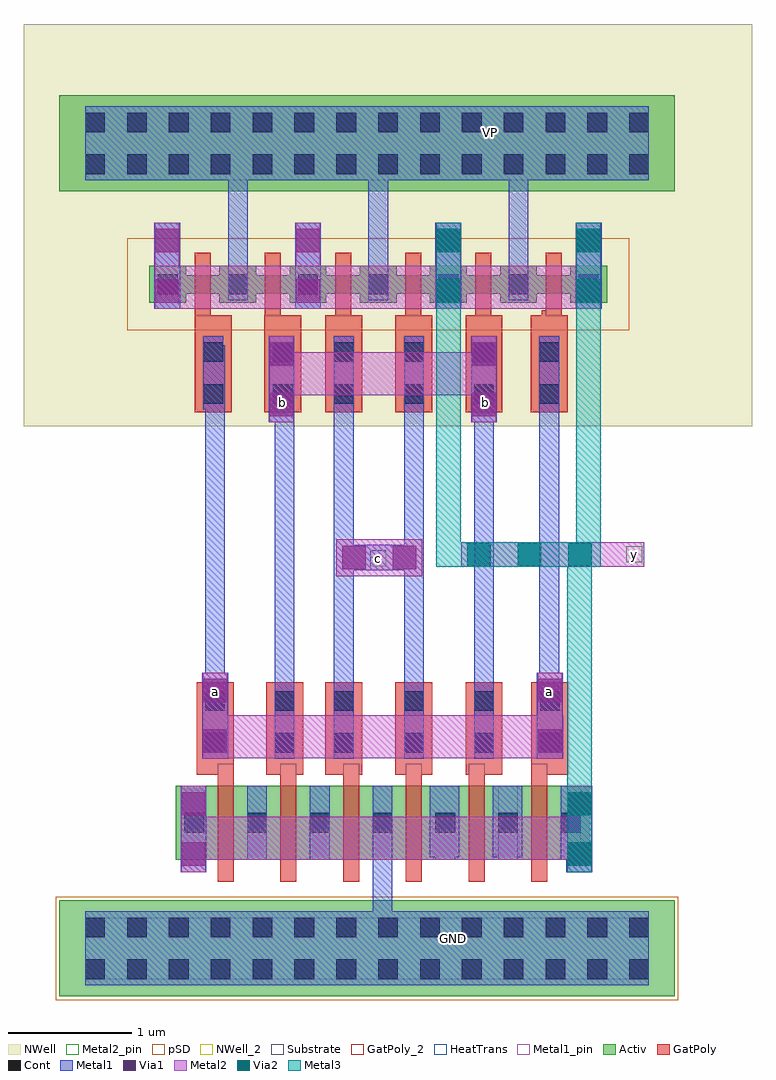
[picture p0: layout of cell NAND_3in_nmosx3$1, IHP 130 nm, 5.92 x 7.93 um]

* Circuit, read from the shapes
.subckt NAND_3in_nmosx3$1 GND VP a b c y
XM1 n1 a y GND sg13_lv_nmos w=0.6u l=0.13u
XM2 n2 b n1 GND sg13_lv_nmos w=0.6u l=0.13u
XM3 GND c n2 GND sg13_lv_nmos w=0.6u l=0.13u
XM4 n3 c GND GND sg13_lv_nmos w=0.6u l=0.13u
XM5 n4 b n3 GND sg13_lv_nmos w=0.6u l=0.13u
XM6 y a n4 GND sg13_lv_nmos w=0.6u l=0.13u
XM7 VP a y VP sg13_lv_pmos w=0.15u l=0.13u m=2
XM8 y b VP VP sg13_lv_pmos w=0.15u l=0.13u m=2
XM9 VP c y VP sg13_lv_pmos w=0.15u l=0.13u m=2
.ends

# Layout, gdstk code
from math import pi, radians
import gdstk
lib = gdstk.Library(unit=1e-6, precision=1e-09)
def R(c, l, rs):  # rectangles x0, y0, x1, y1
    for r in rs: c.add(gdstk.rectangle(r[:2], r[2:], *l))
def A(c, l, x, y, w, h, nx, ny, dx, dy):  # array of equal rectangles
    R(c, l, [(x+i*dx, y+j*dy, x+i*dx+w, y+j*dy+h) for i in range(nx) for j in range(ny)])
Activ = (1, 0)
GatPoly = (5, 0)
GatPoly_2 = (5, 2)
Cont = (6, 0)
Metal1 = (8, 0)
Metal1_pin = (8, 2)
Metal2 = (10, 0)
Metal2_pin = (10, 2)
pSD = (14, 0)
Via1 = (19, 0)
Via2 = (29, 0)
Metal3 = (30, 0)
NWell = (31, 0)
NWell_2 = (31, 2)
Substrate = (40, 0)
HeatTrans = (51, 0)

via_14 = lib.new_cell('Via$14')
R(via_14, Metal1, [(-0.105,-0.35,0.105,0.35)])
R(via_14, Metal2, [(-0.1,-0.35,0.1,0.35)])
R(via_14, Via1, [(-0.095,-0.3,0.095,-0.11), (-0.095,0.11,0.095,0.3)])

via_1 = lib.new_cell('Via$1')
R(via_1, Metal2, [(-0.1,-0.555,0.1,0.555)])
A(via_1, Via2, -0.095, -0.505, 0.19, 0.19, 1, 3, 0, 0.41)
R(via_1, Metal3, [(-0.1,-0.555,0.1,0.555)])

nmos_1 = lib.new_cell('nmos$1')
A(nmos_1, Activ, 0, 0, 0.3, 0.3, 7, 1, 0.51, 0)
R(nmos_1, Activ, [(0,0,3.36,0.6)])
A(nmos_1, GatPoly, 0.34, -0.18, 0.13, 0.96, 6, 1, 0.51, 0)
R(nmos_1, GatPoly_2, [(0.34,-0.18,0.47,0.78)])
A(nmos_1, Cont, 0.07, 0.22, 0.16, 0.16, 7, 1, 0.51, 0)
A(nmos_1, Metal1, 0.07, 0, 0.16, 0.6, 7, 1, 0.51, 0)
R(nmos_1, Metal1_pin, [(0.07,0,0.23,0.6), (0.58,0,0.74,0.6)])
A(nmos_1, HeatTrans, 0.34, -0.18, 0.13, 0.96, 6, 1, 0.51, 0)
nmos_1.add(gdstk.Label('nmos', (0.405,0.3), layer=63, texttype=0))
nmos_1.add(gdstk.Label('nmos', (0.405,0.3), layer=51, texttype=0))
nmos_1.add(gdstk.Label('nmos', (0.915,0.3), layer=51, texttype=0))
nmos_1.add(gdstk.Label('nmos', (1.425,0.3), layer=51, texttype=0))
nmos_1.add(gdstk.Label('nmos', (1.935,0.3), layer=51, texttype=0))
nmos_1.add(gdstk.Label('nmos', (2.445,0.3), layer=51, texttype=0))
nmos_1.add(gdstk.Label('nmos', (2.955,0.3), layer=51, texttype=0))

ntap1_1 = lib.new_cell('ntap1$1')
R(ntap1_1, Activ, [(0,0,5,0.78)])
A(ntap1_1, Cont, 0.21, 0.14, 0.16, 0.16, 14, 2, 0.34, 0.34)
R(ntap1_1, Metal1, [(0.21,0.09,4.79,0.69)])
R(ntap1_1, Metal1_pin, [(0.21,0.09,4.79,0.69), (0.21,0.14,4.79,0.64)])
R(ntap1_1, NWell, [(-0.24,-0.24,5.24,1.02), (0,0,5,0.78)])
R(ntap1_1, NWell_2, [(0,0,5,0.78)])
ntap1_1.add(gdstk.Label('well', (2.5,0.01), layer=63, texttype=0))
ntap1_1.add(gdstk.Label('well', (2.5,0.01), layer=31, texttype=0))

ptap1_5 = lib.new_cell('ptap1$5')
R(ptap1_5, Activ, [(0,0,5,0.78)])
A(ptap1_5, Cont, 0.21, 0.14, 0.16, 0.16, 14, 2, 0.34, 0.34)
R(ptap1_5, Metal1, [(0.21,0.09,4.79,0.69), (0.21,0.14,4.79,0.64)])
R(ptap1_5, Metal1_pin, [(0.21,0.14,4.79,0.64)])
R(ptap1_5, pSD, [(-0.03,-0.03,5.03,0.81)])
R(ptap1_5, Substrate, [(0,0,5,0.78)])
ptap1_5.add(gdstk.Label('sub!', (2.5,0.01), layer=63, texttype=0))
ptap1_5.add(gdstk.Label('sub!', (2.5,0.01), layer=40, texttype=0))

via_2 = lib.new_cell('Via$2')
R(via_2, Metal2, [(-0.1,-0.35,0.1,0.35)])
R(via_2, Via2, [(-0.095,-0.3,0.095,-0.11), (-0.095,0.11,0.095,0.3)])
R(via_2, Metal3, [(-0.1,-0.35,0.1,0.35)])

via_3 = lib.new_cell('Via$3')
R(via_3, GatPoly, [(-0.32,-0.15,0.32,0.15)])
R(via_3, Cont, [(-0.25,-0.08,-0.09,0.08), (0.09,-0.08,0.25,0.08)])
R(via_3, Metal1, [(-0.3,-0.08,0.3,0.08)])

pmos_1 = lib.new_cell('pmos$1')
A(pmos_1, Activ, 0, 0, 0.3, 0.3, 7, 1, 0.57, 0)
R(pmos_1, Activ, [(0,0.075,3.72,0.225)])
A(pmos_1, GatPoly, 0.37, -0.105, 0.13, 0.51, 6, 1, 0.57, 0)
R(pmos_1, GatPoly, [(0.37,-0.105,0.5,0.405)])
A(pmos_1, Cont, 0.07, 0.07, 0.16, 0.16, 7, 1, 0.57, 0)
A(pmos_1, Metal1, 0.64, 0.02, 0.16, 0.26, 6, 1, 0.57, 0)
R(pmos_1, Metal1, [(0.07,0.02,0.23,0.28), (0.07,0.02,0.23,0.28), (0.64,0.02,0.8,0.28)])
R(pmos_1, pSD, [(-0.18,-0.225,3.9,0.525)])
R(pmos_1, NWell, [(-0.31,-0.31,4.03,0.61)])
A(pmos_1, HeatTrans, 0.37, -0.105, 0.13, 0.51, 6, 1, 0.57, 0)
pmos_1.add(gdstk.Label('pmos', (0.435,0.15), layer=63, texttype=0))
pmos_1.add(gdstk.Label('pmos', (0.435,0.15), layer=51, texttype=0))
pmos_1.add(gdstk.Label('pmos', (1.005,0.15), layer=51, texttype=0))
pmos_1.add(gdstk.Label('pmos', (1.575,0.15), layer=51, texttype=0))
pmos_1.add(gdstk.Label('pmos', (2.145,0.15), layer=51, texttype=0))
pmos_1.add(gdstk.Label('pmos', (2.715,0.15), layer=51, texttype=0))
pmos_1.add(gdstk.Label('pmos', (3.285,0.15), layer=51, texttype=0))

nand_3in_nmosx3_1 = lib.new_cell('NAND_3in_nmosx3$1')
A(nand_3in_nmosx3_1, GatPoly, -0.54, -2.93, 0.3, 0.11, 3, 1, 0.57, 0)
A(nand_3in_nmosx3_1, GatPoly, -0.54, 0.655, 0.3, 0.15, 3, 1, 0.57, 0)
R(nand_3in_nmosx3_1, GatPoly, [(-1.585,-2.93,-1.285,-2.82), (-1.02,-2.93,-0.72,-2.82), (1.135,-2.93,1.435,-2.82), (-1.6,0.655,-1.3,0.805), (-1.035,0.655,-0.735,0.805), (1.13,0.655,1.43,0.805), (0.68,0.755,0.81,0.845), (1.22,0.755,1.35,0.845)])
R(nand_3in_nmosx3_1, Metal1, [(-0.155,-4.075,0.005,-3.295), (0.31,-3.6,0.55,-3.34), (0.82,-3.6,1.06,-3.34), (0.31,-3.36,0.55,-3.02), (0.82,-3.36,1.06,-3.02), (-1.515,-2.44,-1.355,0.56), (-0.95,-2.44,-0.79,0.05), (0.67,-2.44,0.83,0.05), (-0.47,-2.38,-0.31,0.175), (0.1,-2.38,0.26,0.245), (1.2,-2.21,1.36,-1.27), (1.2,-1.31,1.36,-0.37), (1.2,-0.455,1.36,0.075), (0.95,1.005,1.11,2.015), (-1.33,1.07,-1.17,2.065), (-0.19,1.075,-0.03,2.065)])
R(nand_3in_nmosx3_1, Metal1_pin, [(0.44,-4.33,0.57,-4.2), (0.74,2.225,0.87,2.355)])
R(nand_3in_nmosx3_1, Metal2, [(-1.685,-3.62,1.605,-3.27), (-1.475,-2.795,1.395,-2.445), (-0.45,-1.315,0.25,-1.015), (1.62,-1.24,2.05,-1.04), (-0.895,0.155,0.83,0.505), (-1.925,0.855,1.7,1.205)])
R(nand_3in_nmosx3_1, Metal2_pin, [(-1.495,-2.31,-1.365,-2.18), (1.225,-2.31,1.355,-2.18), (-0.175,-1.235,-0.045,-1.105), (1.905,-1.205,2.035,-1.075), (-0.955,0.005,-0.825,0.135), (-0.955,0.005,-0.825,0.135), (0.69,0.005,0.82,0.135), (0.69,0.005,0.82,0.135)])
R(nand_3in_nmosx3_1, Metal3, [(1.425,-3.03,1.625,-2.83), (1.425,-2.83,1.625,-2.425), (1.425,-2.5,1.625,-1.15), (0.36,-1.24,0.56,-0.97), (0.38,-1.24,0.565,-1.04), (1.66,-1.24,1.7,-1.09), (1.5,-1.09,1.7,0.17), (0.36,-0.97,0.56,0.26), (1.5,0.045,1.7,1.02), (0.36,0.155,0.56,0.855)])
R(nand_3in_nmosx3_1, NWell, [(-2.99,-0.1,2.93,3.17)])
nand_3in_nmosx3_1.add(gdstk.Reference(via_14, (1.285,-2.45), rotation=pi))
nand_3in_nmosx3_1.add(gdstk.Reference(via_14, (0.75,0.285), rotation=pi))
nand_3in_nmosx3_1.add(gdstk.Reference(via_14, (0.46,1.205), rotation=pi))
nand_3in_nmosx3_1.add(gdstk.Reference(via_14, (1.6,1.205), rotation=pi))
nand_3in_nmosx3_1.add(gdstk.Reference(via_1, (1.12,-1.14), rotation=3*pi/2))
nand_3in_nmosx3_1.add(gdstk.Reference(nmos_1, (1.605,-3.02), rotation=pi))
nand_3in_nmosx3_1.add(gdstk.Reference(ntap1_1, (-2.7,1.81)))
nand_3in_nmosx3_1.add(gdstk.Reference(ptap1_5, (-2.7,-4.73)))
nand_3in_nmosx3_1.add(gdstk.Reference(via_2, (1.525,-3.37), rotation=pi))
nand_3in_nmosx3_1.add(gdstk.Reference(via_2, (0.46,1.205), rotation=pi))
nand_3in_nmosx3_1.add(gdstk.Reference(via_2, (1.6,1.205), rotation=pi))
nand_3in_nmosx3_1.add(gdstk.Reference(via_3, (0.75,-2.5), rotation=3*pi/2))
nand_3in_nmosx3_1.add(gdstk.Reference(via_3, (1.285,-2.5), rotation=3*pi/2))
nand_3in_nmosx3_1.add(gdstk.Reference(via_3, (0.75,0.335), rotation=3*pi/2))
nand_3in_nmosx3_1.add(gdstk.Reference(via_3, (1.28,0.335), rotation=3*pi/2))
nand_3in_nmosx3_1.add(gdstk.Reference(pmos_1, (1.75,1.205), rotation=pi))
nand_3in_nmosx3_1.add(gdstk.Reference(via_3, (0.18,0.335), rotation=3*pi/2))
nand_3in_nmosx3_1.add(gdstk.Reference(via_3, (0.18,-2.5), rotation=3*pi/2))
nand_3in_nmosx3_1.add(gdstk.Reference(via_3, (-0.39,0.335), rotation=3*pi/2))
nand_3in_nmosx3_1.add(gdstk.Reference(via_3, (-0.39,-2.5), rotation=3*pi/2))
nand_3in_nmosx3_1.add(gdstk.Reference(via_14, (-0.1,-1.165), rotation=3*pi/2))
nand_3in_nmosx3_1.add(gdstk.Reference(via_14, (-0.68,1.205), rotation=pi))
nand_3in_nmosx3_1.add(gdstk.Reference(via_14, (-1.825,1.205), rotation=pi))
nand_3in_nmosx3_1.add(gdstk.Reference(via_14, (0.75,0.285), rotation=pi))
nand_3in_nmosx3_1.add(gdstk.Reference(via_3, (0.75,0.335), rotation=3*pi/2))
nand_3in_nmosx3_1.add(gdstk.Reference(via_3, (-0.885,0.335), rotation=3*pi/2))
nand_3in_nmosx3_1.add(gdstk.Reference(via_14, (-0.895,0.285), rotation=pi))
nand_3in_nmosx3_1.add(gdstk.Reference(via_3, (-0.885,0.335), rotation=3*pi/2))
nand_3in_nmosx3_1.add(gdstk.Reference(via_14, (-0.895,0.285), rotation=pi))
nand_3in_nmosx3_1.add(gdstk.Reference(via_3, (-0.87,-2.5), rotation=3*pi/2))
nand_3in_nmosx3_1.add(gdstk.Reference(via_14, (-1.435,-2.45), rotation=pi))
nand_3in_nmosx3_1.add(gdstk.Reference(via_3, (-1.435,-2.5), rotation=3*pi/2))
nand_3in_nmosx3_1.add(gdstk.Reference(via_3, (-1.45,0.335), rotation=3*pi/2))
nand_3in_nmosx3_1.add(gdstk.Reference(via_14, (-1.61,-3.37), rotation=pi))
nand_3in_nmosx3_1.add(gdstk.Reference(via_14, (1.525,-3.37), rotation=pi))
nand_3in_nmosx3_1.add(gdstk.Label('GND', (0.505,-4.26), layer=8, texttype=25))
nand_3in_nmosx3_1.add(gdstk.Label('VP', (0.8,2.285), layer=8, texttype=25))
nand_3in_nmosx3_1.add(gdstk.Label('a', (-1.435,-2.25), layer=10, texttype=25))
nand_3in_nmosx3_1.add(gdstk.Label('a', (1.285,-2.25), layer=10, texttype=25))
nand_3in_nmosx3_1.add(gdstk.Label('b', (0.76,0.095), layer=10, texttype=25))
nand_3in_nmosx3_1.add(gdstk.Label('b', (-0.885,0.095), layer=10, texttype=25))
nand_3in_nmosx3_1.add(gdstk.Label('b', (-0.885,0.095), layer=10, texttype=25))
nand_3in_nmosx3_1.add(gdstk.Label('b', (0.76,0.095), layer=10, texttype=25))
nand_3in_nmosx3_1.add(gdstk.Label('c', (-0.11,-1.175), layer=10, texttype=25))
nand_3in_nmosx3_1.add(gdstk.Label('y', (1.97,-1.14), layer=10, texttype=25))

lib.write_gds('NAND_3in_nmosx3_1.gds')
